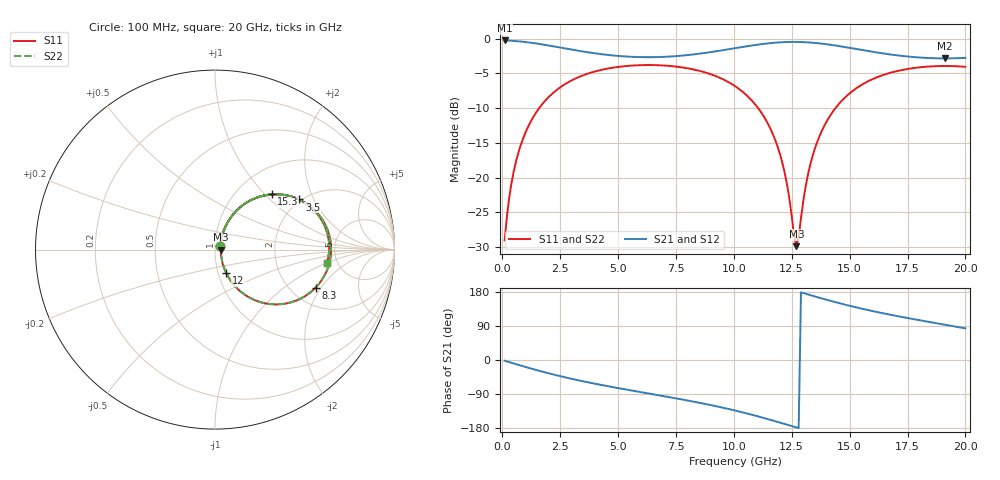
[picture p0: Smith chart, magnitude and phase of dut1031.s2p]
! Touchstone file exported from HFSS 2026.1.0
!  File:  C:/ffzhzh/LocalFiles/Ansys_Project_Files/temp_train_TSV_RDL_1031_1783293931_5512.aedt
!  Generated:  07:38:12 AM Jul  6, 2026
!  Design:  TSV_RDL
!  Project:  temp_train_TSV_RDL_1031_1783293931_5512
! Variables:
!  h_bsmrdl = 2.94um
!  h_ox = 20um
!  h_rdl = 5um
!  h_sub = 57.24um
!  h_tmrdl = 4.1um
!  h_tsv = 57.24um
!  h_via = 3um
!  l_bsmrdl = 231.09um
!  l_sub = 4952.8um
!  l_tmrdl = 943.8um
!  m_sub = 200um
!  pitch = 54.37um
!  r_tsv = 9.87um
!  s_tmrdl = 10um
!  w_bsmrdl = 10.93um
!  w_sub = 500um
!  w_tmrdl = 17.18um
!  x_tsv_center1 = 952.39um
!  x_tsv_center2 = 1194.41um
!  x_tsv_center3 = 2155.39um
!  x_tsv_center4 = 2397.41um
!  x_tsv_center5 = 3358.39um
!  x_tsv_center6 = 3600.41um
# GHz S MA R 50.000000
! Terminal data exported
! Port[1] = TM_RDL1_1_T1
! Port[2] = TM_RDL5_1_T1
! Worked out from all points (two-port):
!   200 points, 100 MHz to 20 GHz, reference 50 ohm
!   highest |S21| = -0.24 dB at 100 MHz (marker M1); lowest = -2.8 dB at 19.1 GHz (marker M2)
!   |S21| within 3 dB of the highest: start of sweep to end of sweep
!   lowest |S11| = -29.9 dB at 12.7 GHz (marker M3), VSWR 1.07, Z = 53.3 - j0.0926 ohm
!   |S11| at or under -10 dB: start of sweep to 1.592 GHz; 11.05 GHz to 14.39 GHz (3.338 GHz wide, 26.2 % of centre)
!   |S22| runs from -29.7 to -3.8 dB; largest |S21 - S12| = 1.6e-14
!   S11 on the Smith chart (normalised r, x): 100 MHz: 1.06, +0.05; 3.5 GHz: 1.95, +1.55; 8.3 GHz: 2.69, -1.78; 12 GHz: 1.09, -0.29; 15.3 GHz: 1.43, +1.09; 20 GHz: 4.12, -1.00
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0.1  0.03527 37.8  0.9726 -1.9  0.9726 -1.9  0.03527 37.8
! Gamma 0 0 0 0
! Port Impedance 50 0 50 0
0.3  0.07206 61.1  0.9694 -5.7  0.9694 -5.7  0.07206 61.1
0.5  0.1123 65.5  0.9647 -9.4  0.9647 -9.4  0.1123 65.5
1.1  0.2296 62.2  0.9431 -20.1  0.9431 -20.1  0.2296 62.2
2.1  0.3942 49.0  0.8889 -36.6  0.8889 -36.6  0.3942 49.0
3.5  0.5463 30.7  0.809 -56.4  0.809 -56.4  0.5463 30.7
5.1  0.6298 12.7  0.7501 -75.2  0.7501 -75.2  0.6298 12.7
6.8  0.6443 -4.8  0.739 -93.5  0.739 -93.5  0.6442 -4.8
8.3  0.5991 -20.8  0.7729 -110.3  0.7729 -110.3  0.5991 -20.7
10.1  0.4501 -42.7  0.8581 -134.0  0.8581 -134.0  0.4501 -42.6
11.2  0.2915 -57.3  0.9151 -151.4  0.9151 -151.4  0.2915 -57.2
12  0.146 -64.5  0.9428 -165.3  0.9428 -165.3  0.1461 -64.2
12.3  0.08861 -61.2  0.9479 -170.7  0.9479 -170.7  0.08878 -60.8
12.7  0.03205 -1.6  0.9493 -178.0  0.9493 -178.0  0.03266 -1.4
12.8  0.03737 29.8  0.9486 -179.8  0.9486 -179.8  0.03791 29.4
13.1  0.08619 61.7  0.9444 174.8  0.9444 174.8  0.08646 61.3
13.4  0.143 65.3  0.9369 169.4  0.9369 169.4  0.1432 65.1
14.2  0.2862 58.5  0.904 155.7  0.904 155.7  0.2863 58.4
15.3  0.4414 44.3  0.8434 138.6  0.8434 138.6  0.4414 44.2
16.7  0.5653 27.4  0.7732 120.1  0.7732 120.1  0.5653 27.3
19.1  0.6367 2.3  0.7223 93.3  0.7223 93.3  0.6368 2.3
20  0.6278 -6.7  0.7292 83.5  0.7292 83.5  0.6279 -6.8
